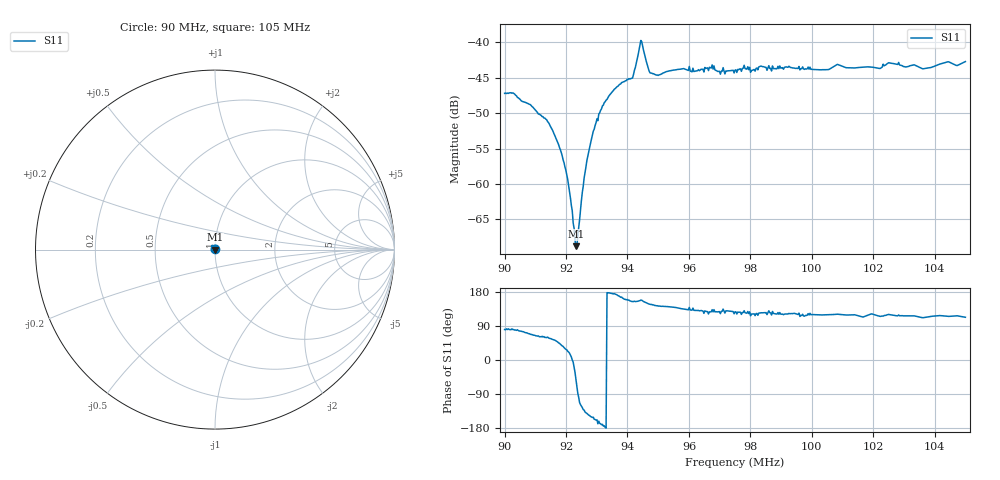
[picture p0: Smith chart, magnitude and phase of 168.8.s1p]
# HZ S RI R 50
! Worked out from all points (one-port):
!   505 points, 90 MHz to 105 MHz, reference 50 ohm
!   lowest |S11| = -68.8 dB at 92.32 MHz (marker M1), VSWR 1.00, Z = 50 - j0.0282 ohm
!   |S11| at or under -10 dB: start of sweep to end of sweep
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9e7  0.000728 0.00431
9.032738e7  0.000816 0.00424
9.136905e7  0.00146 0.00244
9.160715e7  0.00135 0.00182
9.187501e7  0.00126 0.000956
9.208334e7  0.000904 0.000349
9.229167e7  0.000337 -0.000215
9.232144e7  0.000229 -0.000282
9.238096e7  2.21e-05 -0.000419
9.252977e7  -0.000507 -0.000709
9.264882e7  -0.001 -0.000865
9.294644e7  -0.00238 -0.00101
9.324406e7  -0.00373 -0.000411
9.375001e7  -0.00495 0.00111
9.413692e7  -0.00503 0.0024
9.443454e7  -0.00959 0.00386
9.476192e7  -0.00506 0.00336
9.562502e7  -0.00476 0.00435
9.675597e7  -0.00472 0.00509
9.696431e7  -0.0038 0.00496
9.750002e7  -0.00384 0.00509
9.937503e7  -0.00353 0.00557
1.0125e8  -0.00322 0.00578
1.022024e8  -0.00281 0.00592
1.025298e8  -0.00356 0.00622
1.03125e8  -0.00301 0.00605
1.036608e8  -0.00246 0.00606
1.05e8  -0.00284 0.00675
